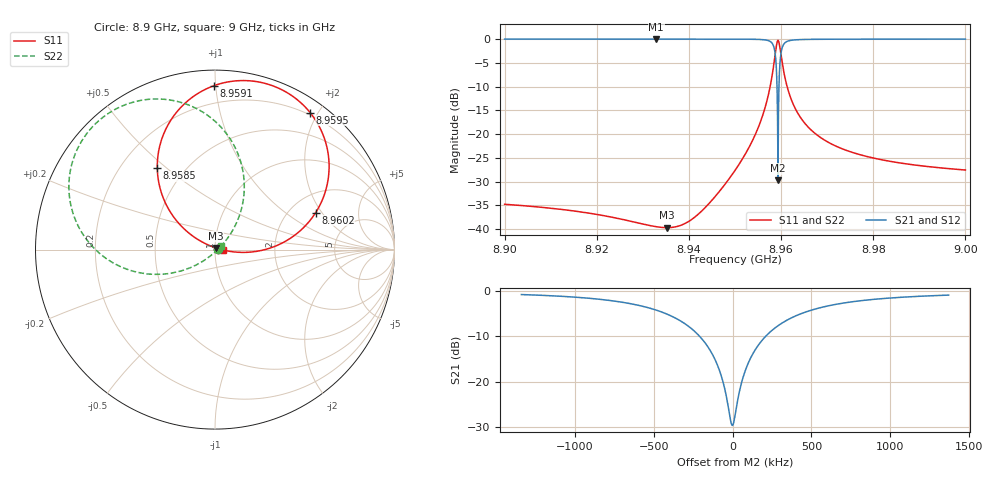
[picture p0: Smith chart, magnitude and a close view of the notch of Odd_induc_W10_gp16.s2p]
! Sonnet Data File
! From: emgraph Version : 16.52
! From Project: Resonator2_cp_varyW
! Data is De-embedded
! Data File Written: 10/09/2017 13:24:46
!< HDATE 10/09/2017 09:18:07
!< MDATE 10/09/2017 09:18:07
!< PARAMS
!< Length = 400.0
!< Pwid1 = 2000.0
!< Pwid2 = 2000.0
!< Air_gap = 6.0
!< Width = 10.0
!< gap = 16.0
!< END PARAMS
# GHZ S MA R 35.98000
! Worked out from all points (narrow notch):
!   1595 points, 8.9 GHz to 9 GHz, reference 35.98 ohm
!   highest |S21| = 0.00 dB at 8.9329 GHz (marker M1); lowest = -29.7 dB at 8.9593 GHz (marker M2)
!   notch at M2: 29.7 dB deep, 229 kHz wide at half that depth
!   lowest |S11| = -39.7 dB at 8.9352 GHz (marker M3), VSWR 1.02, Z = 36.2 + j0.712 ohm
!   |S11| at or under -10 dB: start of sweep to 8.9576 GHz; 8.961314 GHz to end of sweep
!   |S22| runs from -39.7 to -0.3 dB; largest |S21 - S12| = 0
!   S11 on the Smith chart (normalised r, x): 8.9 GHz: 1.04, +0.01; 8.9585 GHz: 0.35, +0.46; 8.9591 GHz: 0.09, +0.99; 8.9595 GHz: 0.17, +1.90; 8.9602 GHz: 2.73, +1.75; 9 GHz: 1.09, -0.00
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8.9  0.0183 17.3  0.9998 -76.4  0.9998 -76.4  0.01829 9.9
!< P1 F=8.9 Eeff=(5.36982967 -2.3752e-5) Z0=(35.9777542 8.05608e-5) R=0.0 C=0.0
!< P2 F=8.9 Eeff=(5.36982967 -2.3752e-5) Z0=(35.9777542 8.05608e-5) R=0.0 C=0.0
8.9167  0.01516 25.5  0.9999 -76.8  0.9999 -76.8  0.01515 0.9
8.9329  0.01063 59.3  0.9999 -77.5  0.9999 -77.5  0.01059 -34.2
8.9334  0.01054 61.7  0.9999 -77.5  0.9999 -77.5  0.0105 -36.6
8.9352  0.01038 71.2  0.9999 -77.6  0.9999 -77.6  0.01034 -46.4
8.9416  0.01381 112.1  0.9999 -78.2  0.9999 -78.2  0.01375 -88.7
8.95  0.04152 144.5  0.999 -80.0  0.999 -80.0  0.04145 -125.0
8.956393  0.1805 147.3  0.9821 -88.2  0.9821 -88.2  0.1803 -144.6
8.957678  0.3262 139.9  0.941 -96.8  0.941 -96.8  0.3259 -155.1
8.958458  0.5559 125.3  0.8178 -111.6  0.8178 -111.6  0.5555 -171.3
8.95889  0.7914 106.0  0.5748 -130.0  0.5748 -130.0  0.7908 168.4
8.959109  0.9137 90.3  0.3294 -143.2  0.3294 -143.2  0.913 152.3
8.959198  0.9477 82.8  0.2031 -147.1  0.2031 -147.1  0.9471 144.7
8.959329  0.9677 71.2  0.03271 -73.4  0.03271 -73.4  0.9671 132.8
8.95941  0.9597 64.0  0.1339 -9.2  0.1339 -9.2  0.9591 125.4
8.959514  0.9292 55.2  0.2828 -10.4  0.2828 -10.4  0.9285 116.5
8.959747  0.8113 38.6  0.5472 -23.7  0.5472 -23.7  0.8108 99.4
8.960165  0.5971 20.1  0.7882 -41.2  0.7882 -41.2  0.5967 80.2
8.962004  0.2466 -1.7  0.9674 -63.6  0.9674 -63.6  0.2464 55.3
8.9667  0.1085 -6.9  0.9939 -71.7  0.9939 -71.7  0.1085 43.8
8.9834  0.05203 -4.4  0.9986 -75.1  0.9986 -75.1  0.05202 34.2
9  0.04196 -2.4  0.9991 -75.9  0.9991 -75.9  0.04195 30.7
